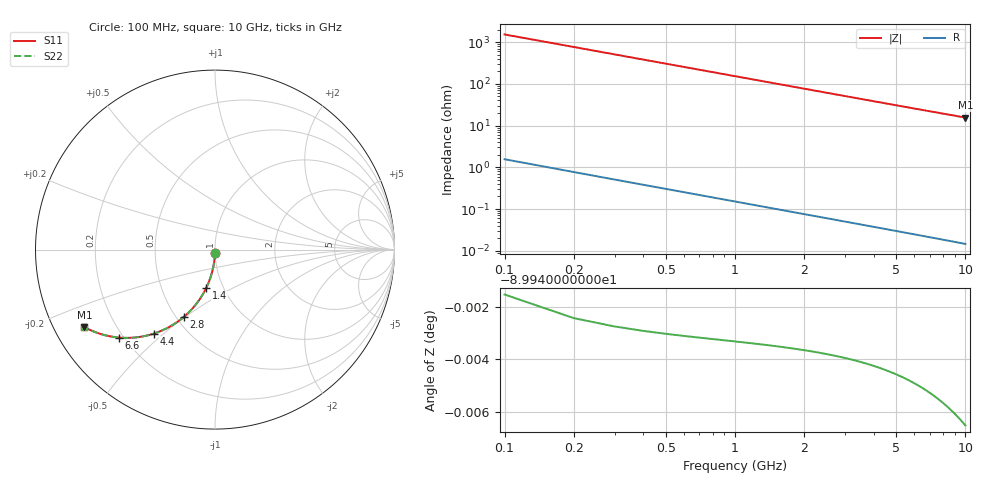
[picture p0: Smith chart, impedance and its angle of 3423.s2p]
# Hz S RI R 50.00
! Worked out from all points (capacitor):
!   100 points, 100 MHz to 10 GHz, reference 50 ohm
!   read as one part in shunt: C = 1.04 pF near 100 MHz
!   lowest |Z| = 15.6 ohm at 10 GHz (marker M1)
!   S11 on the Smith chart (normalised r, x): 100 MHz: 1.00, -0.03; 1.4 GHz: 0.83, -0.38; 2.8 GHz: 0.55, -0.49; 4.4 GHz: 0.33, -0.46; 6.6 GHz: 0.18, -0.38; 10 GHz: 0.09, -0.27
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1e8  -0.000248 -0.0162  0.9997 -0.0164  0.9997 -0.0164  -0.000248 -0.0162
2e8  -0.00106 -0.0324  0.9989 -0.0329  0.9989 -0.0329  -0.00106 -0.0324
3e8  -0.00241 -0.0485  0.9975 -0.0492  0.9975 -0.0492  -0.00241 -0.0485
4e8  -0.00428 -0.0645  0.9957 -0.0655  0.9957 -0.0655  -0.00428 -0.0645
5e8  -0.00667 -0.0805  0.9933 -0.0817  0.9933 -0.0817  -0.00667 -0.0805
6e8  -0.00957 -0.0963  0.9904 -0.0978  0.9904 -0.0978  -0.00957 -0.0963
7e8  -0.013 -0.1119  0.987 -0.1137  0.987 -0.1137  -0.013 -0.1119
9e8  -0.0212 -0.1427  0.9787 -0.1449  0.9787 -0.1449  -0.0212 -0.1427
1.1e9  -0.0314 -0.1726  0.9686 -0.1753  0.9686 -0.1753  -0.0314 -0.1726
1.4e9  -0.0498 -0.2154  0.9501 -0.2189  0.9501 -0.2189  -0.0498 -0.2154
1.8e9  -0.0797 -0.2681  0.9202 -0.2726  0.9202 -0.2726  -0.0797 -0.2681
2.3e9  -0.1238 -0.326  0.8762 -0.3317  0.8762 -0.3317  -0.1238 -0.326
2.8e9  -0.173 -0.3743  0.8269 -0.3813  0.8269 -0.3813  -0.173 -0.3743
3.4e9  -0.2356 -0.4197  0.7643 -0.4281  0.7643 -0.4281  -0.2356 -0.4197
4.4e9  -0.3404 -0.4679  0.6595 -0.4788  0.6595 -0.4788  -0.3404 -0.4679
5.1e9  -0.4094 -0.4849  0.5905 -0.4976  0.5905 -0.4976  -0.4094 -0.4849
5.8e9  -0.4727 -0.4915  0.5272 -0.506  0.5272 -0.506  -0.4727 -0.4915
6.6e9  -0.5372 -0.4898  0.4626 -0.5064  0.4626 -0.5064  -0.5372 -0.4898
6.7e9  -0.5447 -0.4891  0.4551 -0.5059  0.4551 -0.5059  -0.5447 -0.4891
7.5e9  -0.5999 -0.4799  0.3999 -0.4988  0.3999 -0.4988  -0.5999 -0.4799
8.4e9  -0.653 -0.4648  0.3467 -0.4861  0.3467 -0.4861  -0.653 -0.4648
1e10  -0.7276 -0.4319  0.272 -0.4573  0.272 -0.4573  -0.7276 -0.4319
